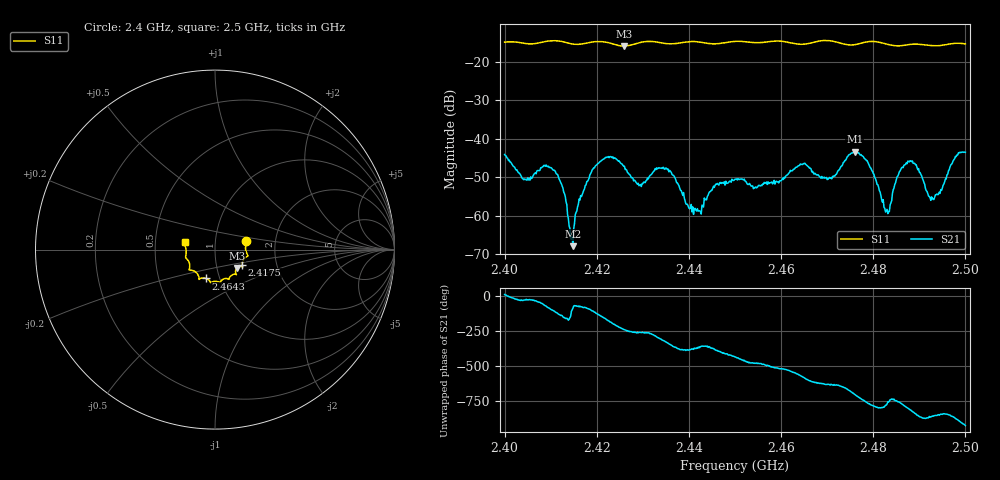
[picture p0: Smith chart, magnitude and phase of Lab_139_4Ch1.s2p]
# Hz S RI R 50
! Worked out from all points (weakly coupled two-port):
!   601 points, 2.4 GHz to 2.5 GHz, reference 50 ohm
!   highest |S21| = -43.40 dB at 2.476 GHz (marker M1); lowest = -67.9 dB at 2.4148 GHz (marker M2)
!   lowest |S11| = -16.0 dB at 2.4258 GHz (marker M3), VSWR 1.38, Z = 62.3 - j13.1 ohm
!   |S11| at or under -10 dB: start of sweep to end of sweep
!   S12 and S22 are empty: the file has one direction only
!   S11 on the Smith chart (normalised r, x): 2.4 GHz: 1.41, +0.14; 2.4175 GHz: 1.33, -0.23; 2.4643 GHz: 0.86, -0.28; 2.5 GHz: 0.72, +0.06
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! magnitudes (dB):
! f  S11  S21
! 2.4 GHz  -14.9  -44.1
! 2.4043 GHz  -15.2  -50.5
! 2.411 GHz  -14.6  -48.5
! 2.4148 GHz  -15.4  -67.9
! 2.4167 GHz  -15.4  -55.0
! 2.4175 GHz  -15.2  -52.1
! 2.4218 GHz  -14.9  -45.0
! 2.4258 GHz  -16.0  -47.1
! 2.4293 GHz  -15.0  -52.0
! 2.4333 GHz  -15.0  -47.7
! 2.4422 GHz  -14.9  -58.7
! 2.4457 GHz  -15.4  -52.1
! 2.45 GHz  -14.7  -50.5
! 2.4545 GHz  -15.1  -52.5
! 2.4643 GHz  -15.5  -46.6
! 2.4667 GHz  -15.1  -48.6
! 2.4705 GHz  -14.5  -50.1
! 2.476 GHz  -15.6  -43.4
! 2.4833 GHz  -15.6  -58.9
! 2.4872 GHz  -15.7  -46.3
! 2.4928 GHz  -15.8  -55.5
! 2.5 GHz  -15.4  -43.5
